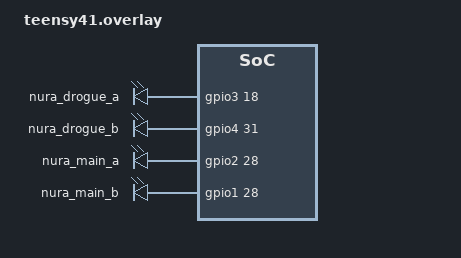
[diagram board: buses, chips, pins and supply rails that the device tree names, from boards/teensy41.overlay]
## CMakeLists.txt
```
cmake_minimum_required(VERSION 3.20.0)
find_package(Zephyr REQUIRED HINTS $ENV{ZEPHYR_BASE})
project(nura_avionics_zephyr LANGUAGES CXX)

set(NURA_ROOT ${CMAKE_CURRENT_LIST_DIR}/../..)

target_sources(app PRIVATE
    src/main.cpp
    src/zephyr_psp.cpp
    ${NURA_ROOT}/modules/core/src/executive.cpp
    ${NURA_ROOT}/modules/core/src/software_bus.cpp
    ${NURA_ROOT}/modules/domain/flight/src/acceleration_selector.cpp
    ${NURA_ROOT}/modules/domain/flight/src/flight_coordinator.cpp
    ${NURA_ROOT}/modules/domain/flight/src/apps/apogee_detector_app.cpp
    ${NURA_ROOT}/modules/domain/flight/src/apps/burnout_detector_app.cpp
    ${NURA_ROOT}/modules/domain/flight/src/apps/drogue_sequence_app.cpp
    ${NURA_ROOT}/modules/domain/flight/src/apps/landing_sequence_app.cpp
    ${NURA_ROOT}/modules/domain/flight/src/apps/launch_detector_app.cpp
    ${NURA_ROOT}/modules/domain/flight/src/apps/main_deploy_detector_app.cpp
    ${NURA_ROOT}/modules/apps/src/event_recorder_app.cpp
    ${NURA_ROOT}/modules/apps/src/flight_coordinator_app.cpp
    ${NURA_ROOT}/modules/apps/src/input_aggregator_app.cpp
    ${NURA_ROOT}/modules/apps/src/recovery_actuation_app.cpp
    ${NURA_ROOT}/modules/apps/src/sensor_apps.cpp
    ${NURA_ROOT}/modules/apps/src/state_app_runner.cpp
    ${NURA_ROOT}/modules/apps/src/supervisor_app.cpp
    ${NURA_ROOT}/modules/apps/src/trace_exporter_app.cpp)

target_include_directories(app PRIVATE
    src
    ${NURA_ROOT}/modules/apps/include
    ${NURA_ROOT}/modules/config/include
    ${NURA_ROOT}/modules/contracts/include
    ${NURA_ROOT}/modules/core/include
    ${NURA_ROOT}/modules/domain/flight/include
    ${NURA_ROOT}/modules/platform/include)

target_compile_definitions(app PRIVATE
    NURA_TRACE_CAPACITY_RECORDS=CONFIG_NURA_TRACE_CAPACITY_RECORDS
    NURA_TRACE_EXPORT_BATCH_RECORDS=CONFIG_NURA_TRACE_EXPORT_BATCH_RECORDS
    NURA_COMMAND_QUEUE_SLOTS=CONFIG_NURA_COMMAND_QUEUE_SLOTS
    NURA_ACTUATION_QUEUE_SLOTS=CONFIG_NURA_ACTUATION_QUEUE_SLOTS
    NURA_TRANSITION_QUEUE_SLOTS=CONFIG_NURA_TRANSITION_QUEUE_SLOTS
    NURA_DECISION_QUEUE_SLOTS=CONFIG_NURA_DECISION_QUEUE_SLOTS
    NURA_SENSOR_FAULT_QUEUE_SLOTS=CONFIG_NURA_SENSOR_FAULT_QUEUE_SLOTS)
```

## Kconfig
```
mainmenu "NURA Zephyr avionics"

config NURA_FAKE_PSP
    bool "Use deterministic fake platform"
    default y if BOARD_NATIVE_SIM
    default n
    help
      Bench/native_sim only. Never enable this in a flight image.

config NURA_TRACE_CONSOLE
    bool "Export TraceMap records to console"
    default n

config NURA_BOARD_SETTLE_MS
    int "Board power and bus settle delay"
    range 0 30000
    default 0 if NURA_FAKE_PSP
    default 5250

config NURA_TRACE_CAPACITY_RECORDS
    int "TraceMap retained records"
    range 128 8192
    default 2048 if BOARD_NATIVE_SIM
    default 512

config NURA_TRACE_EXPORT_BATCH_RECORDS
    int "Trace exporter batch records"
    range 16 512
    default 128

config NURA_COMMAND_QUEUE_SLOTS
    int
    default 9

config NURA_ACTUATION_QUEUE_SLOTS
    int
    default 17

config NURA_TRANSITION_QUEUE_SLOTS
    int
    default 17

config NURA_DECISION_QUEUE_SLOTS
    int
    default 65

config NURA_SENSOR_FAULT_QUEUE_SLOTS
    int
    default 9

source "Kconfig.zephyr"
```

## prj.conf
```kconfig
CONFIG_CPP=y
CONFIG_STD_CPP17=y
CONFIG_REQUIRES_FULL_LIBCPP=y
CONFIG_MAIN_STACK_SIZE=4096
CONFIG_SYSTEM_WORKQUEUE_STACK_SIZE=2048
CONFIG_HEAP_MEM_POOL_SIZE=0
CONFIG_PRINTK=y
CONFIG_CONSOLE=y
CONFIG_SERIAL=y
CONFIG_GPIO=y
CONFIG_ASSERT=y
CONFIG_ASSERT_VERBOSE=y
CONFIG_THREAD_NAME=y
CONFIG_INIT_STACKS=y
CONFIG_BOOT_BANNER=y
```

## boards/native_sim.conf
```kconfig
CONFIG_NURA_FAKE_PSP=y
CONFIG_NURA_BOARD_SETTLE_MS=0
CONFIG_NURA_TRACE_CAPACITY_RECORDS=2048
```

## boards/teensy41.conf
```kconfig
CONFIG_NURA_FAKE_PSP=n
CONFIG_NURA_BOARD_SETTLE_MS=5250
CONFIG_NURA_TRACE_CAPACITY_RECORDS=512
CONFIG_NEWLIB_LIBC=y
CONFIG_MPU_STACK_GUARD=y
```

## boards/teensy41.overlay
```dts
/ {
    aliases {
        nura-drogue-a = &nura_drogue_a;
        nura-drogue-b = &nura_drogue_b;
        nura-main-a = &nura_main_a;
        nura-main-b = &nura_main_b;
    };

    nura_recovery_outputs {
        compatible = "gpio-leds";

        nura_drogue_a: drogue_a {
            gpios = <&gpio3 18 GPIO_ACTIVE_HIGH>; /* Teensy D28 */
        };
        nura_drogue_b: drogue_b {
            gpios = <&gpio4 31 GPIO_ACTIVE_HIGH>; /* Teensy D29 */
        };
        nura_main_a: main_a {
            gpios = <&gpio2 28 GPIO_ACTIVE_HIGH>; /* Teensy D35 */
        };
        nura_main_b: main_b {
            gpios = <&gpio1 28 GPIO_ACTIVE_HIGH>; /* Teensy D38 */
        };
    };
};
```

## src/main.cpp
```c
#include <zephyr/kernel.h>
#include <zephyr/sys/printk.h>

#include "nura/apps/event_recorder_app.h"
#include "nura/apps/flight_coordinator_app.h"
#include "nura/apps/input_aggregator_app.h"
#include "nura/apps/recovery_actuation_app.h"
#include "nura/apps/sensor_apps.h"
#include "nura/apps/state_app_runner.h"
#include "nura/apps/supervisor_app.h"
#include "nura/apps/trace_exporter_app.h"
#include "nura/config/runtime_profile.h"
#include "nura/flight/apps/apogee_detector_app.h"
#include "nura/flight/apps/burnout_detector_app.h"
#include "nura/flight/apps/drogue_sequence_app.h"
#include "nura/flight/apps/landing_sequence_app.h"
#include "nura/flight/apps/launch_detector_app.h"
#include "nura/flight/apps/main_deploy_detector_app.h"
#include "nura/flight/flight_policy.h"
#include "zephyr_psp.h"

namespace c = nura::contracts;
namespace core = nura::core;
namespace apps = nura::apps;
namespace config = nura::config;
namespace flight = nura::flight;
namespace zp = nura::platform::zephyr;

namespace
{
constexpr uint16_t stackBytes(c::AppId id)
{
    const config::AppDescriptor *descriptor = config::appDescriptor(id);
    return descriptor == nullptr ? 0U : descriptor->stack_bytes;
}

struct Runtime
{
    zp::ZephyrClock clock{};
    zp::ZephyrPsp psp{};
    zp::ZephyrTraceSink trace_sink{};
    zp::ZephyrEventSink event_sink{};
    core::SystemTraceMap trace_map{};
    core::SoftwareBus bus;
    core::Executive executive;
    apps::TracingStateAppRunner state_app_runner;

    flight::LaunchDetectorApp launch{};
    flight::BurnoutDetectorApp burnout{};
    flight::ApogeeDetectorApp apogee{};
    flight::DrogueSequenceApp drogue{};
    flight::MainDeployDetectorApp main_deploy{};
    flight::LandingSequenceApp landing{};
    flight::FlightCoordinator coordinator;

    apps::LowGSensorApp low_g;
    apps::HighGSensorApp high_g;
    apps::BarometerSensorApp barometer;
    apps::MagnetometerSensorApp magnetometer;
    apps::GnssSensorApp gnss;
    apps::PowerSensorApp power;
    apps::SafetyInputApp safety;
    apps::SupervisorApp supervisor;
    apps::InputAggregatorApp input_aggregator;
    apps::FlightCoordinatorApp mission;
    apps::RecoveryActuationApp recovery;
    apps::EventRecorderApp event_recorder;
    apps::TraceExporterApp trace_exporter;

    Runtime()
        : bus(trace_map),
          executive(clock, trace_map),
          state_app_runner(clock, trace_map),
          coordinator(launch, burnout, apogee, drogue, main_deploy, landing,
                      &state_app_runner),
          low_g(psp, bus, clock),
          high_g(psp, bus, clock),
          barometer(psp, bus, clock),
          magnetometer(psp, bus, clock),
          gnss(psp, bus, clock),
          power(psp, bus, clock),
          safety(psp, bus, clock),
          supervisor(executive, bus, clock),
          input_aggregator(bus, clock),
          mission(coordinator, bus, clock, trace_map),
          recovery(psp, bus, clock, trace_map),
          event_recorder(bus, clock, event_sink),
          trace_exporter(trace_map, trace_sink)
    {
    }
};

struct PeriodicAppContext
{
    Runtime *runtime = nullptr;
    core::IExecutableApp *app = nullptr;
    const config::AppDescriptor *descriptor = nullptr;
    uint32_t start_delay_ms = 0U;
    c::FlightState last_state = c::FlightState::INIT;
    uint64_t last_enabled_mask = config::enabledApplicationMask(c::FlightState::INIT);
};

K_THREAD_STACK_DEFINE(low_g_stack, stackBytes(c::AppId::LOW_G_SENSOR));
K_THREAD_STACK_DEFINE(high_g_stack, stackBytes(c::AppId::HIGH_G_SENSOR));
K_THREAD_STACK_DEFINE(barometer_stack, stackBytes(c::AppId::BAROMETER_SENSOR));
K_THREAD_STACK_DEFINE(magnetometer_stack,
                      stackBytes(c::AppId::MAGNETOMETER_SENSOR));
K_THREAD_STACK_DEFINE(gnss_stack, stackBytes(c::AppId::GNSS_SENSOR));
K_THREAD_STACK_DEFINE(power_stack, stackBytes(c::AppId::POWER_SENSOR));
K_THREAD_STACK_DEFINE(safety_stack, stackBytes(c::AppId::SAFETY_INPUT));
K_THREAD_STACK_DEFINE(mission_stack, stackBytes(c::AppId::FLIGHT_COORDINATOR));
K_THREAD_STACK_DEFINE(recovery_stack, stackBytes(c::AppId::RECOVERY_ACTUATION));
K_THREAD_STACK_DEFINE(supervisor_stack, stackBytes(c::AppId::SUPERVISOR));
K_THREAD_STACK_DEFINE(event_stack, stackBytes(c::AppId::EVENT_RECORDER));
K_THREAD_STACK_DEFINE(trace_stack, stackBytes(c::AppId::TRACE_EXPORTER));

k_thread low_g_thread;
k_thread high_g_thread;
k_thread barometer_thread;
k_thread magnetometer_thread;
k_thread gnss_thread;
k_thread power_thread;
k_thread safety_thread;
k_thread mission_thread;
k_thread recovery_thread;
k_thread supervisor_thread;
k_thread event_thread;
k_thread trace_thread;

PeriodicAppContext low_g_context;
PeriodicAppContext high_g_context;
PeriodicAppContext barometer_context;
PeriodicAppContext magnetometer_context;
PeriodicAppContext gnss_context;
PeriodicAppContext power_context;
PeriodicAppContext safety_context;
PeriodicAppContext recovery_context;
PeriodicAppContext supervisor_context;
PeriodicAppContext event_context;
PeriodicAppContext trace_context;

void updateSchedule(PeriodicAppContext &context, uint32_t cycle_id)
{
    c::AppEnableSet enabled{};
    if (context.runtime->bus.readAppEnable(
            enabled, context.app->id(), cycle_id,
            context.runtime->clock.nowUs()))
    {
        context.last_state = enabled.state;
        context.last_enabled_mask = enabled.enabled_mask;
    }
}

void periodicAppEntry(void *arg, void *, void *)
{
    auto &context = *static_cast<PeriodicAppContext *>(arg);
    if (context.start_delay_ms != 0U)
    {
        k_sleep(K_MSEC(context.start_delay_ms));
    }
    uint32_t cycle_id = 1U;
    while (true)
    {
        const uint32_t now_ms = static_cast<uint32_t>(k_uptime_get());
        updateSchedule(context, cycle_id);
        (void)context.runtime->executive.runIfEnabled(
            *context.app, now_ms, cycle_id, context.descriptor->deadline_us,
            context.last_state, context.last_enabled_mask);
        ++cycle_id;
        k_sleep(K_MSEC(context.descriptor->period_ms));
    }
}

void missionEntry(void *arg, void *, void *)
{
    auto &runtime = *static_cast<Runtime *>(arg);
    const config::AppDescriptor &aggregator =
        *config::appDescriptor(c::AppId::INPUT_AGGREGATOR);
    const config::AppDescriptor &mission =
        *config::appDescriptor(c::AppId::FLIGHT_COORDINATOR);
    uint32_t cycle_id = 1U;
    while (true)
    {
        const uint32_t now_ms = static_cast<uint32_t>(k_uptime_get());
        const c::FlightState state = runtime.coordinator.status().state;
        const uint64_t enabled_mask = config::enabledApplicationMask(state);
        (void)runtime.executive.runIfEnabled(
            runtime.input_aggregator, now_ms, cycle_id,
            aggregator.deadline_us, state, enabled_mask);
        (void)runtime.executive.runIfEnabled(
            runtime.mission, now_ms, cycle_id, mission.deadline_us,
            state, enabled_mask);
        ++cycle_id;
        k_sleep(K_MSEC(mission.period_ms));
    }
}

void initializeContext(PeriodicAppContext &context, Runtime &runtime,
                       core::IExecutableApp &app, uint32_t start_delay_ms)
{
    context.runtime = &runtime;
    context.app = &app;
    context.descriptor = config::appDescriptor(app.id());
    context.start_delay_ms = start_delay_ms;
}

void createPeriodicThread(k_thread &thread, k_thread_stack_t *stack,
                          size_t stack_size, PeriodicAppContext &context,
                          const char *name)
{
    k_thread_create(&thread, stack, stack_size, periodicAppEntry, &context,
                    nullptr, nullptr,
                    K_PRIO_PREEMPT(context.descriptor->priority), 0, K_NO_WAIT);
    k_thread_name_set(&thread, name);
}
} // namespace

int main()
{
    static Runtime runtime;
#ifdef CONFIG_FLASH_SIZE
    constexpr unsigned flash_kb = CONFIG_FLASH_SIZE;
#else
    constexpr unsigned flash_kb = 0U;
#endif
    printk("NURA Zephyr avionics fake_psp=%u trace=%u ram_kb=%u flash_kb=%u "
           "mission_rev=%u runtime_rev=%u pyro_ms=%u\n",
           IS_ENABLED(CONFIG_NURA_FAKE_PSP) ? 1U : 0U,
           static_cast<unsigned>(runtime.trace_map.capacity()),
           static_cast<unsigned>(CONFIG_SRAM_SIZE), flash_kb,
           static_cast<unsigned>(flight::FlightPolicy::kProfileRevision),
           static_cast<unsigned>(config::kRuntimeProfileRevision),
           static_cast<unsigned>(flight::FlightPolicy::kPyroFireDurationMs));

    const uint32_t settle_ms = CONFIG_NURA_BOARD_SETTLE_MS;
    initializeContext(low_g_context, runtime, runtime.low_g, settle_ms);
    initializeContext(high_g_context, runtime, runtime.high_g, settle_ms);
    initializeContext(barometer_context, runtime, runtime.barometer, settle_ms);
    initializeContext(magnetometer_context, runtime, runtime.magnetometer, settle_ms);
    initializeContext(gnss_context, runtime, runtime.gnss, settle_ms);
    initializeContext(power_context, runtime, runtime.power, settle_ms);
    initializeContext(safety_context, runtime, runtime.safety, settle_ms);
    initializeContext(recovery_context, runtime, runtime.recovery, 0U);
    initializeContext(supervisor_context, runtime, runtime.supervisor, settle_ms);
    initializeContext(event_context, runtime, runtime.event_recorder, 0U);
    initializeContext(trace_context, runtime, runtime.trace_exporter, 0U);

    createPeriodicThread(recovery_thread, recovery_stack,
                         K_THREAD_STACK_SIZEOF(recovery_stack), recovery_context,
                         "recovery");
    k_thread_create(&mission_thread, mission_stack,
                    K_THREAD_STACK_SIZEOF(mission_stack), missionEntry, &runtime,
                    nullptr, nullptr,
                    K_PRIO_PREEMPT(config::appDescriptor(
                        c::AppId::FLIGHT_COORDINATOR)->priority),
                    0, K_NO_WAIT);
    k_thread_name_set(&mission_thread, "mission");

    createPeriodicThread(low_g_thread, low_g_stack,
                         K_THREAD_STACK_SIZEOF(low_g_stack), low_g_context, "low_g");
    createPeriodicThread(high_g_thread, high_g_stack,
                         K_THREAD_STACK_SIZEOF(high_g_stack), high_g_context, "high_g");
    createPeriodicThread(barometer_thread, barometer_stack,
                         K_THREAD_STACK_SIZEOF(barometer_stack), barometer_context,
                         "barometer");
    createPeriodicThread(magnetometer_thread, magnetometer_stack,
                         K_THREAD_STACK_SIZEOF(magnetometer_stack),
                         magnetometer_context, "magnetometer");
    createPeriodicThread(gnss_thread, gnss_stack,
                         K_THREAD_STACK_SIZEOF(gnss_stack), gnss_context, "gnss");
    createPeriodicThread(power_thread, power_stack,
                         K_THREAD_STACK_SIZEOF(power_stack), power_context, "power");
    createPeriodicThread(safety_thread, safety_stack,
                         K_THREAD_STACK_SIZEOF(safety_stack), safety_context, "safety");
    createPeriodicThread(supervisor_thread, supervisor_stack,
                         K_THREAD_STACK_SIZEOF(supervisor_stack), supervisor_context,
                         "supervisor");
    createPeriodicThread(event_thread, event_stack,
                         K_THREAD_STACK_SIZEOF(event_stack), event_context, "events");
    createPeriodicThread(trace_thread, trace_stack,
                         K_THREAD_STACK_SIZEOF(trace_stack), trace_context, "trace");
    return 0;
}
```

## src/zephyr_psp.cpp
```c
#include "zephyr_psp.h"

#include <zephyr/devicetree.h>
#include <zephyr/drivers/gpio.h>
#include <zephyr/sys/printk.h>

#include "nura/flight/flight_policy.h"

namespace nura::platform::zephyr
{
namespace c = nura::contracts;

#if !CONFIG_NURA_FAKE_PSP
namespace
{
const gpio_dt_spec kDrogueA =
    GPIO_DT_SPEC_GET_OR(DT_ALIAS(nura_drogue_a), gpios, {});
const gpio_dt_spec kDrogueB =
    GPIO_DT_SPEC_GET_OR(DT_ALIAS(nura_drogue_b), gpios, {});
const gpio_dt_spec kMainA =
    GPIO_DT_SPEC_GET_OR(DT_ALIAS(nura_main_a), gpios, {});
const gpio_dt_spec kMainB =
    GPIO_DT_SPEC_GET_OR(DT_ALIAS(nura_main_b), gpios, {});

bool configureOutput(const gpio_dt_spec &output)
{
    return output.port != nullptr && gpio_is_ready_dt(&output) &&
           gpio_pin_configure_dt(&output, GPIO_OUTPUT_INACTIVE) == 0;
}

bool setOutput(const gpio_dt_spec &output, bool enabled)
{
    return gpio_pin_set_dt(&output, enabled ? 1 : 0) == 0;
}
} // namespace
#endif

PortResult ZephyrPsp::initialize()
{
#if CONFIG_NURA_FAKE_PSP
    recovery_ready_ = true;
    return PortResult::OK;
#else
    if (!recovery_ready_)
    {
        const PortResult result = configureRecoveryOutputs();
        if (result != PortResult::OK) return result;
    }
    return PortResult::OK;
#endif
}

PortResult ZephyrPsp::read(uint32_t now_ms, c::LowGImuSample &sample)
{
#if CONFIG_NURA_FAKE_PSP
    const float norm_g = now_ms >= 1000U && now_ms < 2500U
                             ? 3.0f
                             : (now_ms >= 2500U ? 0.5f : 1.0f);
    sample.header.sample_time_ms = now_ms;
    sample.header.status_flags = c::SAMPLE_STATUS_VALID |
                                 c::SAMPLE_STATUS_CONNECTED |
                                 c::SAMPLE_STATUS_NEW_DATA;
    sample.accel_z_mps2 = norm_g * nura::flight::FlightPolicy::kGravityMps2;
    sample.attitude_valid = true;
    sample.tilt_valid = true;
    return PortResult::OK;
#else
    (void)now_ms;
    (void)sample;
    return PortResult::UNAVAILABLE;
#endif
}

PortResult ZephyrPsp::read(uint32_t now_ms, c::HighGImuSample &sample)
{
#if CONFIG_NURA_FAKE_PSP
    const float norm_g = now_ms >= 1000U && now_ms < 2500U
                             ? 3.0f
                             : (now_ms >= 2500U ? 0.5f : 1.0f);
    sample.header.sample_time_ms = now_ms;
    sample.header.status_flags = c::SAMPLE_STATUS_VALID |
                                 c::SAMPLE_STATUS_CONNECTED |
                                 c::SAMPLE_STATUS_NEW_DATA;
    sample.accel_z_g = norm_g;
    return PortResult::OK;
#else
    (void)now_ms;
    (void)sample;
    return PortResult::UNAVAILABLE;
#endif
}

PortResult ZephyrPsp::read(uint32_t now_ms, c::BarometerSample &sample)
{
#if CONFIG_NURA_FAKE_PSP
    if ((now_ms % 50U) != 0U) return PortResult::NO_DATA;
    float altitude_m = 0.0f;
    if (now_ms > 1000U && now_ms <= 10500U)
    {
        const float ratio = static_cast<float>(now_ms - 1000U) / 9500.0f;
        altitude_m = 400.0f * ((2.0f * ratio) - (ratio * ratio));
    }
    else if (now_ms > 10500U)
    {
        altitude_m = 400.0f -
                     (static_cast<float>(now_ms - 10500U) / 100.0f);
        if (altitude_m < 0.0f) altitude_m = 0.0f;
    }
    sample.header.sample_time_ms = now_ms;
    sample.header.status_flags = c::SAMPLE_STATUS_VALID |
                                 c::SAMPLE_STATUS_REFERENCE_VALID |
                                 c::SAMPLE_STATUS_CONNECTED |
                                 c::SAMPLE_STATUS_NEW_DATA;
    sample.pressure_pa = 101325.0f;
    sample.reference_pressure_pa = 101325.0f;
    sample.raw_altitude_m = altitude_m;
    sample.filtered_altitude_m = altitude_m;
    return PortResult::OK;
#else
    (void)now_ms;
    (void)sample;
    return PortResult::UNAVAILABLE;
#endif
}

PortResult ZephyrPsp::read(uint32_t now_ms, c::MagnetometerSample &sample)
{
#if CONFIG_NURA_FAKE_PSP
    if ((now_ms % 100U) != 0U) return PortResult::NO_DATA;
    sample.header.sample_time_ms = now_ms;
    sample.header.status_flags = c::SAMPLE_STATUS_VALID | c::SAMPLE_STATUS_CONNECTED;
    return PortResult::OK;
#else
    (void)now_ms;
    (void)sample;
    return PortResult::UNAVAILABLE;
#endif
}

PortResult ZephyrPsp::read(uint32_t now_ms, c::GnssSample &sample)
{
#if CONFIG_NURA_FAKE_PSP
    if ((now_ms % 50U) != 0U) return PortResult::NO_DATA;
    sample.header.sample_time_ms = now_ms;
    sample.header.status_flags = c::SAMPLE_STATUS_VALID | c::SAMPLE_STATUS_CONNECTED;
    sample.has_fix = true;
    sample.satellites = 10U;
    return PortResult::OK;
#else
    (void)now_ms;
    (void)sample;
    return PortResult::UNAVAILABLE;
#endif
}

PortResult ZephyrPsp::read(uint32_t now_ms, c::PowerSample &sample)
{
#if CONFIG_NURA_FAKE_PSP
    if ((now_ms % 100U) != 0U) return PortResult::NO_DATA;
    sample.header.sample_time_ms = now_ms;
    sample.header.status_flags = c::SAMPLE_STATUS_VALID;
    sample.battery_mv = 12000U;
    return PortResult::OK;
#else
    (void)now_ms;
    (void)sample;
    return PortResult::UNAVAILABLE;
#endif
}

PortResult ZephyrPsp::read(uint32_t now_ms, c::SafetyStatus &status)
{
#if CONFIG_NURA_FAKE_PSP
    status.header.sample_time_ms = now_ms;
    status.header.status_flags = c::SAMPLE_STATUS_VALID;
    status.abort_active = false;
    return PortResult::OK;
#else
    (void)now_ms;
    (void)status;
    return PortResult::UNAVAILABLE;
#endif
}

PortResult ZephyrPsp::configureRecoveryOutputs()
{
#if CONFIG_NURA_FAKE_PSP
    recovery_ready_ = true;
    return PortResult::OK;
#else
    recovery_ready_ = configureOutput(kDrogueA) && configureOutput(kDrogueB) &&
                      configureOutput(kMainA) && configureOutput(kMainB);
    if (!recovery_ready_) return PortResult::UNAVAILABLE;
    return allOff();
#endif
}

PortResult ZephyrPsp::allOff()
{
#if CONFIG_NURA_FAKE_PSP
    return PortResult::OK;
#else
    if (!recovery_ready_) return PortResult::UNAVAILABLE;
    const bool ok = setOutput(kDrogueA, false) && setOutput(kDrogueB, false) &&
                    setOutput(kMainA, false) && setOutput(kMainB, false);
    return ok ? PortResult::OK : PortResult::FAULT;
#endif
}

PortResult ZephyrPsp::setChannel(c::RecoveryChannel channel, bool enabled)
{
#if CONFIG_NURA_FAKE_PSP
    printk("RECOVERY channel=%u enabled=%u\n",
           static_cast<unsigned>(channel), enabled ? 1U : 0U);
    return PortResult::OK;
#else
    if (!recovery_ready_) return PortResult::UNAVAILABLE;
    bool ok = false;
    if (channel == c::RecoveryChannel::DROGUE_PRIMARY)
    {
        ok = setOutput(kDrogueA, enabled) && setOutput(kDrogueB, enabled);
    }
    else if (channel == c::RecoveryChannel::MAIN_PRIMARY)
    {
        ok = setOutput(kMainA, enabled) && setOutput(kMainB, enabled);
    }
    if (!ok)
    {
        (void)allOff();
        return PortResult::FAULT;
    }
    return PortResult::OK;
#endif
}

PortResult ZephyrTraceSink::tryWrite(const c::TraceRecord &record)
{
#if CONFIG_NURA_TRACE_CONSOLE
    printk("TRACE,%u,%llu,%u,%s,%s,%u,%u,%d,%u,%u\n",
           record.sequence, static_cast<unsigned long long>(record.timestamp_us),
           record.cycle_id, c::traceEventName(record.event), c::appName(record.app),
           static_cast<unsigned>(record.topic), static_cast<unsigned>(record.state),
           record.result, record.duration_us, record.detail);
#else
    (void)record;
#endif
    return PortResult::OK;
}

PortResult ZephyrEventSink::tryWrite(const c::TransitionEvent &event)
{
    printk("FSM transition=%u from=%u to=%u at_ms=%u by=%s\n", event.sequence,
           static_cast<unsigned>(event.previous), static_cast<unsigned>(event.current),
           event.timestamp_ms, c::appName(event.requested_by));
    return PortResult::OK;
}

PortResult ZephyrEventSink::tryWrite(const c::DecisionTrace &event)
{
    if (event.result == c::DecisionResult::ACCEPT)
    {
        printk("FSM decision=%u kind=%u state=%u at_ms=%u\n", event.sequence,
               static_cast<unsigned>(event.kind), static_cast<unsigned>(event.state),
               event.timestamp_ms);
    }
    return PortResult::OK;
}

PortResult ZephyrEventSink::tryWrite(const c::SensorFaultEvent &event)
{
    printk("SENSOR fault topic=%u flags=%u at_ms=%u\n",
           static_cast<unsigned>(event.sensor_topic), event.fault_flags,
           event.timestamp_ms);
    return PortResult::OK;
}

} // namespace nura::platform::zephyr
```

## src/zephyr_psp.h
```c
#pragma once

#include <zephyr/kernel.h>

#include "nura/core/monotonic_clock.h"
#include "nura/platform/ports.h"

namespace nura::platform::zephyr
{

class ZephyrClock final : public nura::core::IMonotonicClock
{
public:
    uint64_t nowUs() const override
    {
        return k_ticks_to_us_floor64(k_uptime_ticks());
    }
};

class ZephyrPsp final : public ILowGImu,
                        public IHighGImu,
                        public IBarometer,
                        public IMagnetometer,
                        public IGnss,
                        public IPowerMonitor,
                        public ISafetyInput,
                        public IRecoveryOutput
{
public:
    PortResult initialize() override;
    PortResult read(uint32_t now_ms,
                    nura::contracts::LowGImuSample &sample) override;
    PortResult read(uint32_t now_ms,
                    nura::contracts::HighGImuSample &sample) override;
    PortResult read(uint32_t now_ms,
                    nura::contracts::BarometerSample &sample) override;
    PortResult read(uint32_t now_ms,
                    nura::contracts::MagnetometerSample &sample) override;
    PortResult read(uint32_t now_ms,
                    nura::contracts::GnssSample &sample) override;
    PortResult read(uint32_t now_ms,
                    nura::contracts::PowerSample &sample) override;
    PortResult read(uint32_t now_ms,
                    nura::contracts::SafetyStatus &status) override;
    PortResult allOff() override;
    PortResult setChannel(nura::contracts::RecoveryChannel channel,
                          bool enabled) override;

private:
    PortResult configureRecoveryOutputs();
    bool recovery_ready_ = false;
};

class ZephyrTraceSink final : public ITraceSink
{
public:
    PortResult tryWrite(const nura::contracts::TraceRecord &record) override;
};

class ZephyrEventSink final : public IEventSink
{
public:
    PortResult tryWrite(const nura::contracts::TransitionEvent &event) override;
    PortResult tryWrite(const nura::contracts::DecisionTrace &event) override;
    PortResult tryWrite(const nura::contracts::SensorFaultEvent &event) override;
};

} // namespace nura::platform::zephyr
```
